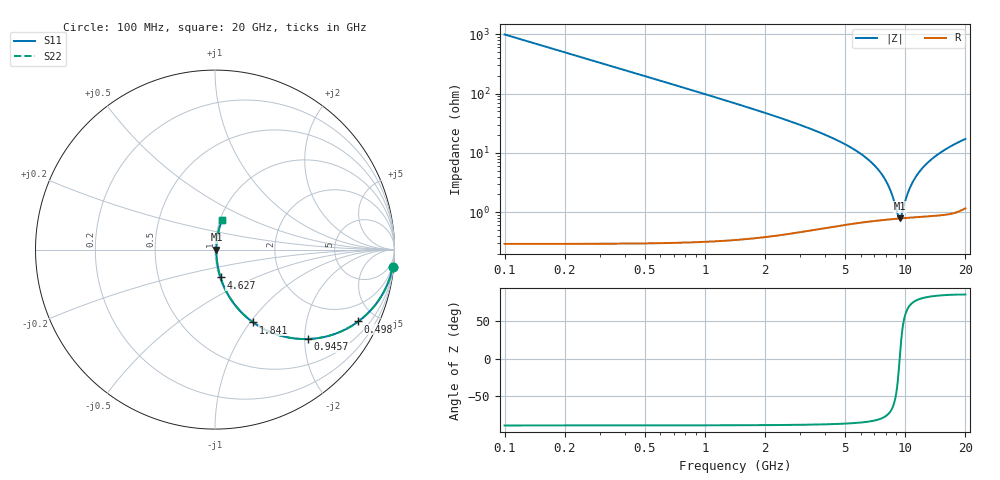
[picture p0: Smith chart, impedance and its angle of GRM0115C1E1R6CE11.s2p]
!Murata Part Number: GRM0115C1E1R6CE11
!These Parameters are Measured in Series Mode Connection
!Data Generated on Mar 30, 2021
!  o--ll--o
!Port1  Port2
!  o------o
!Operation Temp=25[degC], DC Bias Voltage=0[V]
!Freq. Start=100[MHz] Stop=20[GHz] 401[Steps]
# Hz S RI R 50
!Freq.(Hz) S11(Real) S11(Imag) S21(Real) S21(Imag) S12(Real) S12(Imag) S22(Real) S22(Imag)
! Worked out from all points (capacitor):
!   401 points, 100 MHz to 20 GHz, reference 50 ohm
!   read as one part in series: C = 1.6 pF near 199.5 MHz
!   lowest |Z| = 786 mohm at 9.403 GHz (marker M1)
!   series resonance near 9.395 GHz, so ESL is about 180 pH
!   S11 on the Smith chart (normalised r, x): 100 MHz: 1, -20; 498 MHz: 1.01, -3.98; 945.8 MHz: 1.01, -2.08; 1.841 GHz: 1.01, -1.04; 4.627 GHz: 1.01, -0.32; 20 GHz: 1.02, +0.34
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1e8  0.99 -0.0995  0.01 0.0995  0.01 0.0995  0.99 -0.0995
2.99e8  0.9168 -0.2758  0.0832 0.2758  0.0832 0.2758  0.9168 -0.2758
4.98e8  0.7982 -0.4006  0.2018 0.4006  0.2018 0.4006  0.7982 -0.4006
9.4575e8  0.5197 -0.4981  0.4803 0.4981  0.4803 0.4981  0.5197 -0.4981
1.34375e9  0.3445 -0.4729  0.6555 0.4729  0.6555 0.4729  0.3445 -0.4729
1.84125e9  0.2132 -0.406  0.7868 0.406  0.7868 0.406  0.2132 -0.406
2.53775e9  0.1185 -0.3174  0.8815 0.3174  0.8815 0.3174  0.1185 -0.3174
3.43325e9  0.0625 -0.2323  0.9375 0.2323  0.9375 0.2323  0.0625 -0.2323
4.62725e9  0.0307 -0.1552  0.9693 0.1552  0.9693 0.1552  0.0307 -0.1552
6.7665e9  0.0117 -0.0684  0.9883 0.0684  0.9883 0.0684  0.0117 -0.0684
8.1595e9  0.00831 -0.029  0.9917 0.029  0.9917 0.029  0.00831 -0.029
8.657e9  0.00789 -0.0168  0.9921 0.0168  0.9921 0.0168  0.00789 -0.0168
9.20425e9  0.00777 -0.0042  0.9922 0.0042  0.9922 0.0042  0.00777 -0.0042
9.40325e9  0.0078 0.000183  0.9922 -0.000183  0.9922 -0.000183  0.0078 0.000183
9.60225e9  0.00786 0.00447  0.9921 -0.00447  0.9921 -0.00447  0.00786 0.00447
1.005e10  0.00813 0.0138  0.9919 -0.0138  0.9919 -0.0138  0.00813 0.0138
1.059725e10  0.00866 0.0247  0.9913 -0.0247  0.9913 -0.0247  0.00866 0.0247
1.129375e10  0.00962 0.0378  0.9904 -0.0378  0.9904 -0.0378  0.00962 0.0378
1.218925e10  0.0112 0.0536  0.9888 -0.0536  0.9888 -0.0536  0.0112 0.0536
1.338325e10  0.014 0.0734  0.986 -0.0734  0.986 -0.0734  0.014 0.0734
1.67165e10  0.0246 0.1224  0.9754 -0.1224  0.9754 -0.1224  0.0246 0.1224
2e10  0.0393 0.1632  0.9607 -0.1632  0.9607 -0.1632  0.0393 0.1632
